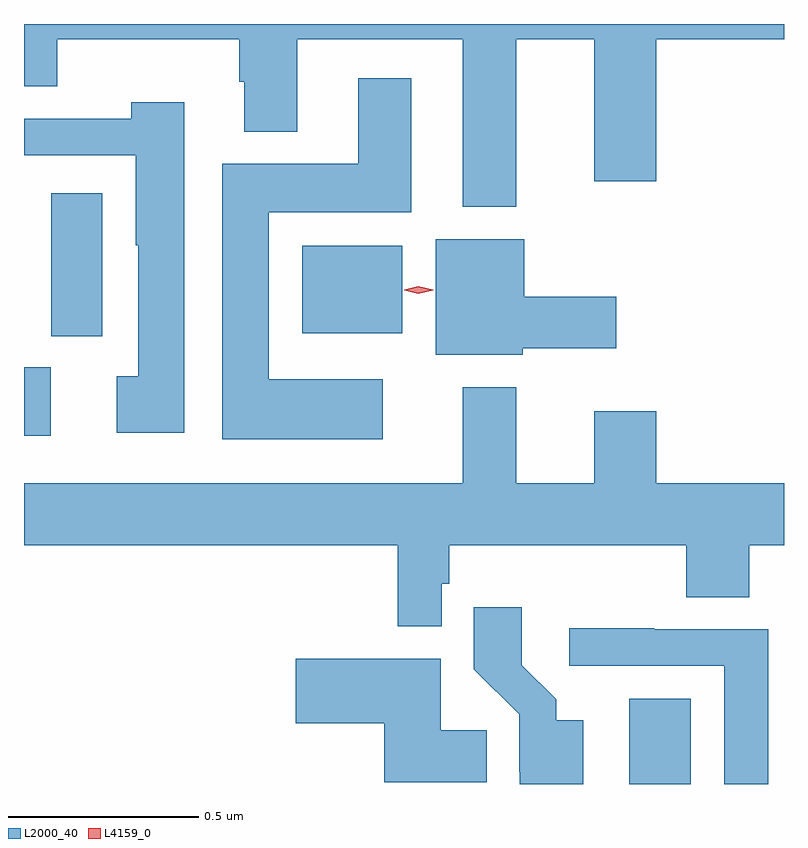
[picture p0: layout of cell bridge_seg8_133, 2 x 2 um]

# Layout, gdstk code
import gdstk
lib = gdstk.Library(unit=1e-6, precision=1e-09)
def R(c, l, rs):  # rectangles x0, y0, x1, y1
    for r in rs: c.add(gdstk.rectangle(r[:2], r[2:], *l))
def P(c, l, *ps):  # polygons
    for p in ps: c.add(gdstk.Polygon(p, *l))
L2000_40 = (2000, 40)
L4159_0 = (4159, 0)

bridge_seg8_133 = lib.new_cell('bridge_seg8_133')
R(bridge_seg8_133, L2000_40, [(464.801,1146.508,464.962,1146.733), (463.208,1147.425,463.279,1147.605), (463.28,1147.686,463.414,1148.062), (463.94,1147.694,464.203,1147.924)])
P(bridge_seg8_133, L2000_40, [(464.503,1148.468),(464.708,1148.468),(464.708,1148.094),(464.872,1148.094),(464.872,1148.468),(465.208,1148.468),(465.208,1148.508),(463.208,1148.508),(463.208,1148.344),(463.295,1148.344),(463.295,1148.468),(463.775,1148.468),(463.775,1148.356),(463.787,1148.356),(463.787,1148.225),(463.927,1148.225),(463.927,1148.468),(464.363,1148.468),(464.363,1148.027),(464.503,1148.027)],
  [(464.152,1147.573),(463.852,1147.573),(463.852,1148.012),(464.227,1148.012),(464.227,1148.365),(464.087,1148.365),(464.087,1148.14),(463.73,1148.14),(463.73,1147.415),(464.152,1147.415)],
  [(463.63,1148.302),(463.49,1148.302),(463.49,1148.259),(463.208,1148.259),(463.208,1148.163),(463.502,1148.163),(463.502,1147.926),(463.508,1147.926),(463.508,1147.581),(463.452,1147.581),(463.452,1147.433),(463.63,1147.433)],
  [(464.52,1147.655),(464.767,1147.655),(464.767,1147.79),(464.524,1147.79),(464.524,1147.942),(464.291,1147.942),(464.291,1147.637),(464.52,1147.637)],
  [(464.307,1147.035),(464.327,1147.035),(464.327,1147.136),(464.951,1147.136),(464.951,1147),(465.116,1147),(465.116,1147.136),(465.208,1147.136),(465.208,1147.3),(464.872,1147.3),(464.872,1147.489),(464.708,1147.489),(464.708,1147.3),(464.503,1147.3),(464.503,1147.552),(464.363,1147.552),(464.363,1147.3),(463.208,1147.3),(463.208,1147.136),(464.191,1147.136),(464.191,1146.923),(464.307,1146.923)],
  [(464.68,1146.676),(464.608,1146.676),(464.608,1146.731),(464.518,1146.821),(464.518,1146.973),(464.392,1146.973),(464.392,1146.81),(464.511,1146.691),(464.511,1146.54),(464.513,1146.54),(464.513,1146.508),(464.68,1146.508)],
  [(465.167,1146.915),(464.867,1146.915),(464.867,1146.918),(464.643,1146.918),(464.643,1146.819),(465.051,1146.819),(465.051,1146.508),(465.167,1146.508)],
  [(464.426,1146.65),(464.305,1146.65),(464.305,1146.838),(463.923,1146.838),(463.923,1146.668),(464.156,1146.668),(464.156,1146.512),(464.426,1146.512)])
P(bridge_seg8_133, L4159_0, [(464.246,1147.798),(464.208,1147.808),(464.208,1147.808),(464.208,1147.809),(464.246,1147.818),(464.285,1147.809),(464.285,1147.808),(464.285,1147.808)])

lib.write_gds('bridge_seg8_133.gds')
